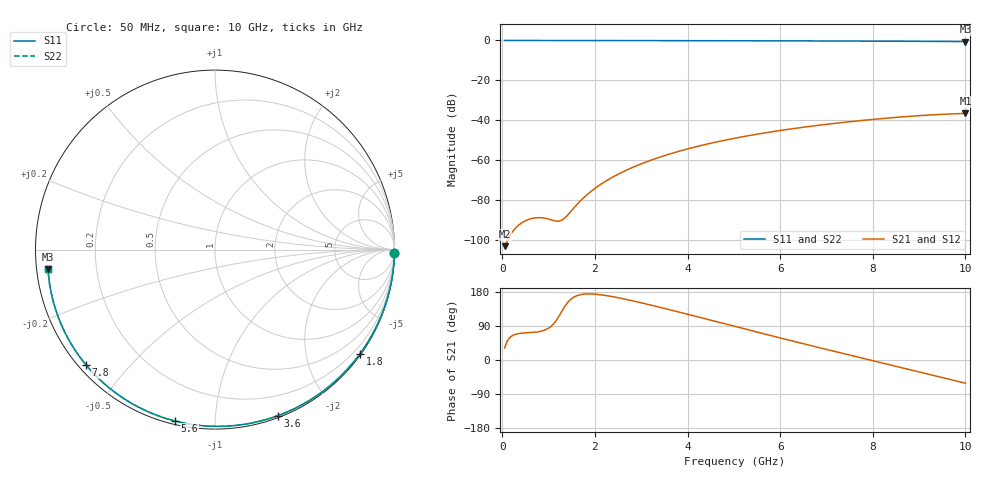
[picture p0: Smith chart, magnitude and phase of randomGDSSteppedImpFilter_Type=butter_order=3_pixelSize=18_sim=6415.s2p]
! freq	dB(S11)	phase(S11)	dB(S12)	phase(S12)
!  dB(S21)	phase(S21)	dB(S22)	phase(S22)
!S-par simulation data
#  GHz  S  DB  R 50
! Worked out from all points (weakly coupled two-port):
!   200 points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, 50 MHz to 10 GHz, reference 50 ohm
!   highest |S21| = -36.50 dB at 10 GHz (marker M1); lowest = -102.9 dB at 50 MHz (marker M2)
!   lowest |S11| = -0.6 dB at 10 GHz (marker M3), VSWR 30.60, Z = 1.64 - j2.91 ohm
!   |S11| at or under -10 dB: nowhere
!   |S22| runs from -0.6 to 0.0 dB; largest |S21 - S12| = 0
!   S11 on the Smith chart (normalised r, x): 50 MHz: open; 1.8 GHz: 0.03, -3.11; 3.6 GHz: 0.02, -1.45; 5.6 GHz: 0.02, -0.79; 7.8 GHz: 0.02, -0.38; 10 GHz: 0.03, -0.06
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0.05  -0.00 -1.0  -102.91 31.9  -102.91 31.9  -0.00 -1.0
0.45  -0.01 -9.1  -90.81 71.1  -90.81 71.1  -0.01 -9.1
0.85  -0.02 -17.0  -88.71 76.3  -88.71 76.3  -0.02 -17.0
1.65  -0.04 -32.7  -81.13 171.3  -81.13 171.3  -0.04 -32.7
1.7  -0.04 -33.7  -79.96 172.7  -79.96 172.7  -0.04 -33.7
1.75  -0.04 -34.7  -78.84 173.7  -78.84 173.7  -0.04 -34.7
1.8  -0.05 -35.6  -77.77 174.2  -77.77 174.2  -0.05 -35.6
1.95  -0.05 -38.5  -74.88 174.2  -74.88 174.2  -0.05 -38.5
2.1  -0.05 -41.4  -72.37 172.5  -72.37 172.5  -0.05 -41.4
2.45  -0.06 -48.0  -67.52 165.6  -67.52 165.6  -0.06 -48.0
2.9  -0.07 -56.4  -62.66 153.8  -62.66 153.8  -0.07 -56.4
3.4  -0.09 -65.5  -58.38 139.2  -58.38 139.2  -0.09 -65.5
3.6  -0.09 -69.1  -56.90 133.1  -56.90 133.1  -0.09 -69.1
4.3  -0.11 -81.4  -52.50 111.4  -52.50 111.4  -0.11 -81.4
5.05  -0.14 -94.1  -48.77 87.8  -48.77 87.8  -0.14 -94.1
5.6  -0.17 -103.2  -46.50 70.6  -46.50 70.6  -0.17 -103.2
6.15  -0.20 -112.1  -44.54 53.6  -44.54 53.6  -0.20 -112.1
6.7  -0.23 -120.9  -42.81 36.9  -42.81 36.9  -0.23 -120.9
7.8  -0.32 -138.1  -39.94 4.1  -39.94 4.1  -0.32 -138.1
8.35  -0.37 -146.7  -38.77 -12.2  -38.77 -12.2  -0.37 -146.7
9.2  -0.46 -160.2  -37.33 -37.6  -37.33 -37.6  -0.46 -160.2
10  -0.57 -173.3  -36.50 -61.2  -36.50 -61.2  -0.57 -173.3
